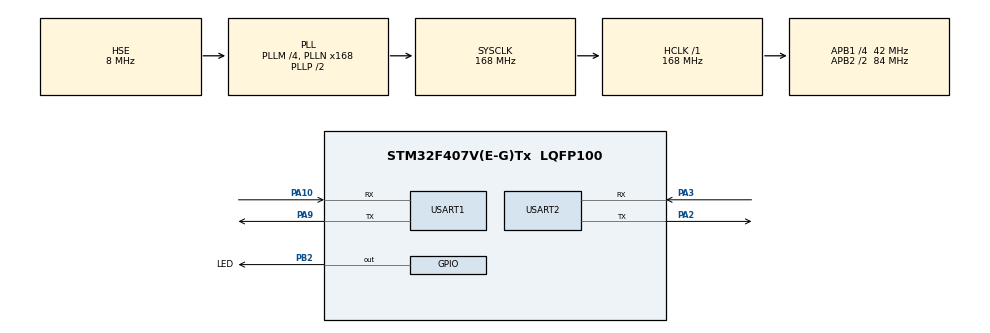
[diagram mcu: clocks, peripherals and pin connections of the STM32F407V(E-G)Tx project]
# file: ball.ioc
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Dma.Request0=USART1_TX
Dma.Request1=USART1_RX
Dma.Request2=USART2_RX
Dma.Request3=USART2_TX
Dma.USART1_RX.1.Direction=DMA_PERIPH_TO_MEMORY
Dma.USART1_RX.1.FIFOMode=DMA_FIFOMODE_DISABLE
Dma.USART1_RX.1.Instance=DMA2_Stream2
Dma.USART1_RX.1.MemDataAlignment=DMA_MDATAALIGN_BYTE
Dma.USART1_RX.1.MemInc=DMA_MINC_ENABLE
Dma.USART1_RX.1.Mode=DMA_CIRCULAR
Dma.USART1_RX.1.PeriphDataAlignment=DMA_PDATAALIGN_BYTE
Dma.USART1_RX.1.PeriphInc=DMA_PINC_DISABLE
Dma.USART1_RX.1.Priority=DMA_PRIORITY_LOW
Dma.USART1_TX.0.Direction=DMA_MEMORY_TO_PERIPH
Dma.USART1_TX.0.FIFOMode=DMA_FIFOMODE_DISABLE
Dma.USART1_TX.0.Instance=DMA2_Stream7
Dma.USART1_TX.0.MemDataAlignment=DMA_MDATAALIGN_BYTE
Dma.USART1_TX.0.MemInc=DMA_MINC_ENABLE
Dma.USART1_TX.0.Mode=DMA_NORMAL
Dma.USART1_TX.0.PeriphDataAlignment=DMA_PDATAALIGN_BYTE
Dma.USART1_TX.0.PeriphInc=DMA_PINC_DISABLE
Dma.USART1_TX.0.Priority=DMA_PRIORITY_LOW
Dma.USART2_RX.2.Direction=DMA_PERIPH_TO_MEMORY
Dma.USART2_RX.2.FIFOMode=DMA_FIFOMODE_DISABLE
Dma.USART2_RX.2.Instance=DMA1_Stream5
Dma.USART2_RX.2.MemDataAlignment=DMA_MDATAALIGN_BYTE
Dma.USART2_RX.2.MemInc=DMA_MINC_ENABLE
Dma.USART2_RX.2.Mode=DMA_NORMAL
Dma.USART2_RX.2.PeriphDataAlignment=DMA_PDATAALIGN_BYTE
Dma.USART2_RX.2.PeriphInc=DMA_PINC_DISABLE
Dma.USART2_RX.2.Priority=DMA_PRIORITY_LOW
Dma.USART2_TX.3.Direction=DMA_MEMORY_TO_PERIPH
Dma.USART2_TX.3.FIFOMode=DMA_FIFOMODE_DISABLE
Dma.USART2_TX.3.Instance=DMA1_Stream6
Dma.USART2_TX.3.MemDataAlignment=DMA_MDATAALIGN_BYTE
Dma.USART2_TX.3.MemInc=DMA_MINC_ENABLE
Dma.USART2_TX.3.Mode=DMA_NORMAL
Dma.USART2_TX.3.PeriphDataAlignment=DMA_PDATAALIGN_BYTE
Dma.USART2_TX.3.PeriphInc=DMA_PINC_DISABLE
Dma.USART2_TX.3.Priority=DMA_PRIORITY_LOW
FREERTOS.BinarySemaphores01=CtrlBinarySem,Dynamic,NULL,Available;VisionBinarySem,Dynamic,NULL,Available
FREERTOS.Mutexes01=CmdMutex,Dynamic,NULL,Available
FREERTOS.Tasks01=defaultTask,24,256,StartDefaultTask,Default,NULL,Dynamic,NULL,NULL;PIDTask,40,512,StartPIDTask,Default,NULL,Dynamic,NULL,NULL;VisionTask,40,256,StartVisionTask,Default,NULL,Dynamic,NULL,NULL;CommandTask,40,256,StartCommandTask,Default,NULL,Dynamic,NULL,NULL
FREERTOS.configENABLE_FPU=1
FREERTOS.configMINIMAL_STACK_SIZE=256
FREERTOS.configTOTAL_HEAP_SIZE=65536
Mcu.Family=STM32F4
Mcu.Name=STM32F407V(E-G)Tx
Mcu.Package=LQFP100
NVIC.DMA1_Stream5_IRQn=true\:5\:0\:false\:false\:true\:true\:false\:true\:true
NVIC.DMA1_Stream6_IRQn=true\:5\:0\:false\:false\:true\:true\:false\:true\:true
NVIC.DMA2_Stream2_IRQn=true\:5\:0\:true\:false\:true\:true\:false\:true\:true
NVIC.DMA2_Stream7_IRQn=true\:5\:0\:false\:false\:true\:true\:false\:true\:true
NVIC.PriorityGroup=NVIC_PRIORITYGROUP_4
NVIC.TIM2_IRQn=true\:5\:0\:true\:false\:true\:true\:true\:true\:true
NVIC.TIM4_IRQn=true\:15\:0\:false\:false\:true\:false\:false\:true\:true
NVIC.TimeBase=TIM4_IRQn
NVIC.TimeBaseIP=TIM4
NVIC.USART1_IRQn=true\:5\:0\:false\:false\:true\:true\:true\:true\:true
NVIC.USART2_IRQn=true\:5\:0\:false\:false\:true\:true\:true\:true\:true
PA10.Mode=Asynchronous
PA10.Signal=USART1_RX
PA13.Mode=Serial_Wire
PA13.Signal=SYS_JTMS-SWDIO
PA14.Mode=Serial_Wire
PA14.Signal=SYS_JTCK-SWCLK
PA2.Mode=Asynchronous
PA2.Signal=USART2_TX
PA3.Mode=Asynchronous
PA3.Signal=USART2_RX
PA9.Mode=Asynchronous
PA9.Signal=USART1_TX
PB2.GPIO_Label=LED
PB2.GPIO_PuPd=GPIO_PULLDOWN
PB2.GPIO_Speed=GPIO_SPEED_FREQ_HIGH
PB2.Signal=GPIO_Output
PH0-OSC_IN.Mode=HSE-External-Oscillator
PH0-OSC_IN.Signal=RCC_OSC_IN
PH1-OSC_OUT.Mode=HSE-External-Oscillator
PH1-OSC_OUT.Signal=RCC_OSC_OUT
ProjectManager.HeapSize=0x200
ProjectManager.StackSize=0x400
ProjectManager.TargetToolchain=MDK-ARM V5.32
RCC.48MHZClocksFreq_Value=84000000
RCC.AHBFreq_Value=168000000
RCC.APB1CLKDivider=RCC_HCLK_DIV4
RCC.APB1Freq_Value=42000000
RCC.APB1TimFreq_Value=84000000
RCC.APB2CLKDivider=RCC_HCLK_DIV2
RCC.APB2Freq_Value=84000000
RCC.APB2TimFreq_Value=168000000
RCC.CortexFreq_Value=168000000
RCC.HCLKFreq_Value=168000000
RCC.HSE_VALUE=8000000
RCC.HSI_VALUE=16000000
RCC.LSE_VALUE=32768
RCC.PLLM=4
RCC.PLLN=168
RCC.PLLSourceVirtual=RCC_PLLSOURCE_HSE
RCC.SYSCLKFreq_VALUE=168000000
RCC.SYSCLKSource=RCC_SYSCLKSOURCE_PLLCLK
RCC.VCOOutputFreq_Value=336000000
TIM2.AutoReloadPreload=TIM_AUTORELOAD_PRELOAD_ENABLE
TIM2.Period=9999
TIM2.Prescaler=83
USART1.VirtualMode=VM_ASYNC
USART2.VirtualMode=VM_ASYNC
VP_FREERTOS_VS_CMSIS_V2.Mode=CMSIS_V2
VP_SYS_VS_tim4.Mode=TIM4
VP_TIM2_VS_ClockSourceINT.Mode=Internal
board=custom

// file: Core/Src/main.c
/* USER CODE BEGIN Header */
/**
  ******************************************************************************
  * @file           : main.c
  * @brief          : Main program body
  ******************************************************************************
  * @attention
  *
  * Copyright (c) 2026 STMicroelectronics.
  * All rights reserved.
  *
  * This software is licensed under terms that can be found in the LICENSE file
  * in the root directory of this software component.
  * If no LICENSE file comes with this software, it is provided AS-IS.
  *
  ******************************************************************************
  */
/* USER CODE END Header */
#include "main.h"
#include "cmsis_os.h"
#include "dma.h"
#include "tim.h"
#include "usart.h"
#include "gpio.h"

void SystemClock_Config(void);
void MX_FREERTOS_Init(void);

int main(void)
{

  /* MCU Configuration--------------------------------------------------------*/

  /* Reset of all peripherals, Initializes the Flash interface and the Systick. */
  HAL_Init();

  /* Configure the system clock */
  SystemClock_Config();

  /* Initialize all configured peripherals */
  MX_GPIO_Init();
  MX_DMA_Init();
  MX_TIM2_Init();
  MX_USART1_UART_Init();
  MX_USART2_UART_Init();
  /* USER CODE BEGIN 2 */

  /* 启动 USART1 DMA 环形接收 + IDLE 中断 */
  Vision_StartDMA();

  /* USER CODE END 2 */

  /* Init scheduler */
  osKernelInitialize();  /* Call init function for freertos objects (in cmsis_os2.c) */
  MX_FREERTOS_Init();

  /* Start scheduler */
  osKernelStart();

  /* We should never get here as control is now taken by the scheduler */

  /* Infinite loop */
  while (1)
  {

  }
}

void SystemClock_Config(void)
{
  RCC_OscInitTypeDef RCC_OscInitStruct = {0};
  RCC_ClkInitTypeDef RCC_ClkInitStruct = {0};

  /** Configure the main internal regulator output voltage
  */
  __HAL_RCC_PWR_CLK_ENABLE();
  __HAL_PWR_VOLTAGESCALING_CONFIG(PWR_REGULATOR_VOLTAGE_SCALE1);

  /** Initializes the RCC Oscillators according to the specified parameters
  * in the RCC_OscInitTypeDef structure.
  */
  RCC_OscInitStruct.OscillatorType = RCC_OSCILLATORTYPE_HSE;
  RCC_OscInitStruct.HSEState = RCC_HSE_ON;
  RCC_OscInitStruct.PLL.PLLState = RCC_PLL_ON;
  RCC_OscInitStruct.PLL.PLLSource = RCC_PLLSOURCE_HSE;
  RCC_OscInitStruct.PLL.PLLM = 4;
  RCC_OscInitStruct.PLL.PLLN = 168;
  RCC_OscInitStruct.PLL.PLLP = RCC_PLLP_DIV2;
  RCC_OscInitStruct.PLL.PLLQ = 4;
  if (HAL_RCC_OscConfig(&RCC_OscInitStruct) != HAL_OK)
  {
    Error_Handler();
  }

  /** Initializes the CPU, AHB and APB buses clocks
  */
  RCC_ClkInitStruct.ClockType = RCC_CLOCKTYPE_HCLK|RCC_CLOCKTYPE_SYSCLK
                              |RCC_CLOCKTYPE_PCLK1|RCC_CLOCKTYPE_PCLK2;
  RCC_ClkInitStruct.SYSCLKSource = RCC_SYSCLKSOURCE_PLLCLK;
  RCC_ClkInitStruct.AHBCLKDivider = RCC_SYSCLK_DIV1;
  RCC_ClkInitStruct.APB1CLKDivider = RCC_HCLK_DIV4;
  RCC_ClkInitStruct.APB2CLKDivider = RCC_HCLK_DIV2;

  if (HAL_RCC_ClockConfig(&RCC_ClkInitStruct, FLASH_LATENCY_5) != HAL_OK)
  {
    Error_Handler();
  }
}

void HAL_TIM_PeriodElapsedCallback(TIM_HandleTypeDef *htim)
{
  if (htim->Instance == TIM4)
  {
    HAL_IncTick();
  }
}

void Error_Handler(void)
{
  __disable_irq();
  while (1)
  {
  }
}

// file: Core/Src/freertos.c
/* USER CODE BEGIN Header */
/**
  ******************************************************************************
  * File Name          : freertos.c
  * Description        : Code for freertos applications
  ******************************************************************************
  * @attention
  *
  * Copyright (c) 2026 STMicroelectronics.
  * All rights reserved.
  *
  * This software is licensed under terms that can be found in the LICENSE file
  * in the root directory of this software component.
  * If no LICENSE file comes with this software, it is provided AS-IS.
  *
  ******************************************************************************
  */
/* USER CODE END Header */

#include "FreeRTOS.h"
#include "task.h"
#include "main.h"
#include "cmsis_os.h"

/* USER CODE BEGIN Includes */
#include "Emm_V5.h"  /* 电机控制函数、MOTOR_X/Y_ADDR、ABS 宏 */
#include "queue.h"    /* FreeRTOS 队列 API：xQueueCreate / xQueueSendToBack / xQueueReceive */
/* USER CODE END Includes */

/* USER CODE BEGIN Variables */

/* 视觉数据队列句柄（FreeRTOS 原生，长度 3，取最新帧时弹旧帧） */
QueueHandle_t VisionQueue;

/* PIDTask → CommandTask 共享电机指令 */
MotorCmd_t motor_cmd;

/* USER CODE END Variables */
/* Definitions for defaultTask */
osThreadId_t defaultTaskHandle;
const osThreadAttr_t defaultTask_attributes = {
  .name = "defaultTask",
  .stack_size = 256 * 4,
  .priority = (osPriority_t) osPriorityNormal,
};
/* Definitions for PIDTask */
osThreadId_t PIDTaskHandle;
const osThreadAttr_t PIDTask_attributes = {
  .name = "PIDTask",
  .stack_size = 512 * 4,
  .priority = (osPriority_t) osPriorityHigh,
};
/* Definitions for VisionTask */
osThreadId_t VisionTaskHandle;
const osThreadAttr_t VisionTask_attributes = {
  .name = "VisionTask",
  .stack_size = 256 * 4,
  .priority = (osPriority_t) osPriorityHigh,
};
/* Definitions for CommandTask */
osThreadId_t CommandTaskHandle;
const osThreadAttr_t CommandTask_attributes = {
  .name = "CommandTask",
  .stack_size = 256 * 4,
  .priority = (osPriority_t) osPriorityHigh,
};
/* Definitions for CmdMutex */
osMutexId_t CmdMutexHandle;
const osMutexAttr_t CmdMutex_attributes = {
  .name = "CmdMutex"
};
/* Definitions for CtrlBinarySem */
osSemaphoreId_t CtrlBinarySemHandle;
const osSemaphoreAttr_t CtrlBinarySem_attributes = {
  .name = "CtrlBinarySem"
};
/* Definitions for VisionBinarySem */
osSemaphoreId_t VisionBinarySemHandle;
const osSemaphoreAttr_t VisionBinarySem_attributes = {
  .name = "VisionBinarySem"
};

void StartDefaultTask(void *argument);
void StartPIDTask(void *argument);
void StartVisionTask(void *argument);
void StartCommandTask(void *argument);

void MX_FREERTOS_Init(void); /* (MISRA C 2004 rule 8.1) */

void MX_FREERTOS_Init(void) {
  /* Create the mutex(es) */
  /* creation of CmdMutex */
  CmdMutexHandle = osMutexNew(&CmdMutex_attributes);

  /* Create the semaphores(s) */
  /* creation of CtrlBinarySem */
  CtrlBinarySemHandle = osSemaphoreNew(1, 1, &CtrlBinarySem_attributes);

  /* creation of VisionBinarySem */
  VisionBinarySemHandle = osSemaphoreNew(1, 1, &VisionBinarySem_attributes);

  /* USER CODE BEGIN RTOS_QUEUES */
  /* 视觉数据队列：长度 3，FreeRTOS 原生，手动覆盖旧数据 */
  VisionQueue = xQueueCreate(3, sizeof(VisionData_t));
  /* USER CODE END RTOS_QUEUES */

  /* Create the thread(s) */
  /* creation of defaultTask */
  defaultTaskHandle = osThreadNew(StartDefaultTask, NULL, &defaultTask_attributes);

  /* creation of PIDTask */
  PIDTaskHandle = osThreadNew(StartPIDTask, NULL, &PIDTask_attributes);

  /* creation of VisionTask */
  VisionTaskHandle = osThreadNew(StartVisionTask, NULL, &VisionTask_attributes);

  /* creation of CommandTask */
  CommandTaskHandle = osThreadNew(StartCommandTask, NULL, &CommandTask_attributes);

}

void StartDefaultTask(void *argument)
{
  for(;;)
  {
  osDelay(1);
  }
}

void StartPIDTask(void *argument)
{
  /* USER CODE BEGIN StartPIDTask */
  VisionData_t data;
  const float   kyp  = 500.0f;
  const float   kxp  = 400.0f;
  const float   kyd  = 110.0f;
  const float   kxd  = 80.0f;

  for(;;)
  {
    /* 阻塞等待视觉数据 */
    if (xQueueReceive(VisionQueue, &data, portMAX_DELAY) == pdTRUE)
    {
      float out_x = kxp * data.nx + kxd * (data.vx);
      float out_y = kyp * data.ny + kyd * (data.vy);

      int32_t raw_x = (int32_t)out_x;
      int32_t raw_y = (int32_t)out_y;

      /* 限幅 ±400 */
      if (raw_x >  400) raw_x =  500;
      if (raw_x < -400) raw_x = -500;
      if (raw_y >  400) raw_y =  500;
      if (raw_y < -400) raw_y = -500;

      /* 填指令结构体 */
      motor_cmd.dir_x = (raw_x >= 0) ? 1 : 0;  /* X 轴反向 */
      motor_cmd.clk_x = (uint32_t)ABS(raw_x);
      motor_cmd.dir_y = (raw_y >= 0) ? 1 : 0;  /* Y 轴反向 */
      motor_cmd.clk_y = (uint32_t)ABS(raw_y);
      /* 唤醒 CommandTask 执行电机指令 */
      xTaskNotifyGive(CommandTaskHandle);
    }
  }
  /* USER CODE END StartPIDTask */
}

void StartVisionTask(void *argument)
{
  /* USER CODE BEGIN StartVisionTask */
  VisionData_t data;
  uint16_t    safety;

  for(;;)
  {
    /* 等待 ISR 唤醒 */
    osSemaphoreAcquire(VisionBinarySemHandle, osWaitForever);

    safety = 0;
    while (vision_parse_idx != vision_cur_idx && safety < DMA_RX_BUF_SIZE)
    {
      safety++;
      if (dma_rx_buf[vision_parse_idx] == VISION_FRAME_HEADER)
      {
        uint16_t data_start = (vision_parse_idx + 1) % DMA_RX_BUF_SIZE;

        if (data_start + 17 <= DMA_RX_BUF_SIZE)
        {
          /* 帧在环内连续 */
          Vision_ParseFrame(&dma_rx_buf[data_start], 17, &data);
        }
        else
        {
          /* 帧跨环尾，拼两段到临时 buf */
          uint8_t tmp[17];
          uint16_t part1 = DMA_RX_BUF_SIZE - data_start;
          uint16_t part2 = 17 - part1;
          for (uint16_t i = 0; i < part1; i++) tmp[i]      = dma_rx_buf[data_start + i];
          for (uint16_t i = 0; i < part2; i++) tmp[part1 + i] = dma_rx_buf[i];
          Vision_ParseFrame(tmp, 17, &data);
        }

        if (data.timestamp != 0)
        {
          /* 写队列：满了弹最老再写，始终保留最新 3 帧 */
          if (xQueueSendToBack(VisionQueue, &data, 0) == errQUEUE_FULL) {
            VisionData_t dummy;
            xQueueReceive(VisionQueue, &dummy, 0);
            xQueueSendToBack(VisionQueue, &data, 0);
          }
        }

        vision_parse_idx = (vision_parse_idx + VISION_FRAME_SIZE) % DMA_RX_BUF_SIZE;
      }
      else
      {
        vision_parse_idx = (vision_parse_idx + 1) % DMA_RX_BUF_SIZE;
      }
    }
  }
  /* USER CODE END StartVisionTask */
}

void StartCommandTask(void *argument)
{
  /* USER CODE BEGIN StartCommandTask */
  const uint16_t vel = 1000;
  const uint8_t  acc = 200;

  for(;;)
  {
    /* 等待 PIDTask 唤醒 */
    ulTaskNotifyTake(pdTRUE, portMAX_DELAY);
    /* 快照电机指令，防止 PIDTask 在 X/Y 之间覆盖 */
    MotorCmd_t cmd = motor_cmd;
    /* X 电机目标位置 */
    Emm_V5_Pos_Control(MOTOR_X_ADDR, cmd.dir_x, vel, acc, cmd.clk_x, true, true);
    osDelay(3);
    /* Y 电机目标位置 */
    Emm_V5_Pos_Control(MOTOR_Y_ADDR, cmd.dir_y, vel, acc, cmd.clk_y, true, true);
    osDelay(3);
    /* 广播同步触发 */
    Emm_V5_Synchronous_motion(0);
    osDelay(3);
  }
  /* USER CODE END StartCommandTask */
}
